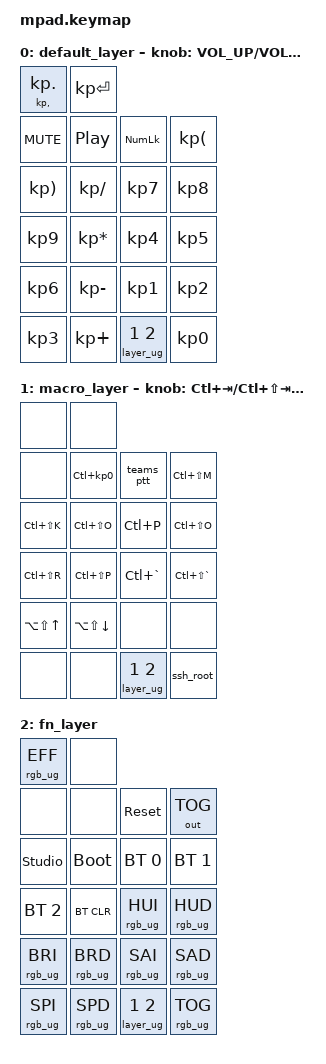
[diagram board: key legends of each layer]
// This file was generated from a template. Edit it to match your keyboard.
// See https://zmk.dev/docs/development/hardware-integration/new-shield for more instructions.

#include <behaviors.dtsi>
#include <dt-bindings/zmk/keys.h>
#include <dt-bindings/zmk/bt.h>
#include <dt-bindings/zmk/rgb.h>
#include <dt-bindings/zmk/outputs.h>
#include <dt-bindings/zmk/pointing.h>

#define DEFAULT 0
#define LOWER   1
#define RAISE   2

&led_strip {
    chain-length = <20>;
};

/ {
    behaviors {
        clt: custom_layer_tap {
            compatible = "zmk,behavior-hold-tap";
            #binding-cells = <2>;
            flavor = "tap-preferred";
            tapping-term-ms = <200>;
            bindings = <&to>, <&to>;
        };

        inc_dec_msc: inc_dec_msc {
            compatible = "zmk,behavior-sensor-rotate-var";
            #sensor-binding-cells = <2>;
            bindings = <&msc>, <&msc>;
            tap-ms = <150>;
        };

        dot_comma: dot_comma {
            compatible = "zmk,behavior-hold-tap";
            #binding-cells = <2>;
            flavor = "tap-preferred";
            tapping-term-ms = <200>;
            bindings = <&kp>, <&kp>; /* <Hold, Tap> */
        };

        /* Three-state layer/underglow toggle:
         *   default + tap  -> LOWER (blue)
         *   default + hold -> RAISE (red)
         *   LOWER/RAISE + release -> default (restore color + effect) */
        layer_ug: layer_ug {
            compatible = "zmk,behavior-layer-ug";
            #binding-cells = <2>;
            lower-hsb = <240 100 80>;
            raise-hsb = <0 100 80>;
        };
    };

    macros {
        /* Teams Push to Talk: 
            - Press: Sends Ctrl+Shift+M (Unmute)
            - Hold: Pauses execution while button is held
            - Release: Sends Ctrl+Shift+M (Mute)
        */
        teams_ptt: teams_ptt {
            compatible = "zmk,behavior-macro";
            #binding-cells = <0>;
            bindings
                /* 1. Unmute on press */
                = <&macro_press &kp LCTRL &kp LSHFT &kp M>
                , <&macro_release &kp LCTRL &kp LSHFT &kp M>
                /* 2. Wait while holding */
                , <&macro_pause_for_release>
                /* 3. Mute on release */
                , <&macro_press &kp LCTRL &kp LSHFT &kp M>
                , <&macro_release &kp LCTRL &kp LSHFT &kp M>;
        };
        
        /* Type "ssh root@" and paste IP (Shift + Insert) */
        ssh_root: ssh_root {
            compatible = "zmk,behavior-macro";
            #binding-cells = <0>;
            wait-ms = <20>;
            tap-ms = <20>;
            bindings
                = <&macro_tap &kp S &kp S &kp H &kp SPACE &kp R &kp O &kp O &kp T &kp AT &kp LS(INS)>;
        };
    };

/*
 * =========================================================================
 * ZMK DIRECT MODIFIER KEYCODE REFERENCE
 * =========================================================================
 *
 * TEAMS SHORTCUTS
 *   &kp LC(LS(M))     - Toggle Mute             (Ctrl + Shift + M)
 *   &kp LC(LS(K))     - Raise / Lower Hand      (Ctrl + Shift + K)
 *   &kp LC(LS(O))     - Toggle Camera           (Ctrl + Shift + O)
 *
 * VS CODE SHORTCUTS
 *   &kp LC(P)         - Quick Open File         (Ctrl + P)
 *   &kp LC(LS(P))     - Command Palette         (Ctrl + Shift + P)
 *   &kp LC(LS(O))     - Go to Symbol in File    (Ctrl + Shift + O)
 *   &kp LC(LS(F))     - Global Search           (Ctrl + Shift + F)
 *   &kp LC(LS(R))     - Refactor                (Ctrl + Shift + R)
 *   &kp LC(GRAVE)     - Toggle Terminal         (Ctrl + `)
 *   &kp LA(LS(UP))    - Duplicate Line Above    (Alt + Shift + Up)
 *   &kp LA(LS(DOWN))  - Duplicate Line Below    (Alt + Shift + Down)
 *
 * NAVIGATION / TABS
 *   &kp LC(TAB)       - Next Tab                (Ctrl + Tab)
 *   &kp LC(LS(TAB))   - Previous Tab            (Ctrl + Shift + Tab)
 *
 * MODIFIER CODES:
 *   LC(code) = Left Control | LS(code) = Left Shift | LA(code) = Left Alt
 * =========================================================================
 */
    
    keymap {
        compatible = "zmk,keymap";

        default_layer {
            bindings = <
                &kp C_MUTE   &kp C_PP
                &kp KP_NUM   &kp KP_LPAR  &kp KP_RPAR                   &kp KP_DIVIDE
                &kp KP_N7    &kp KP_N8    &kp KP_N9                     &kp KP_MULTIPLY
                &kp KP_N4    &kp KP_N5    &kp KP_N6                     &kp KP_MINUS
                &kp KP_N1    &kp KP_N2    &kp KP_N3                     &kp KP_PLUS
                &layer_ug 1 2   &kp KP_N0    &dot_comma KP_COMMA KP_DOT    &kp KP_ENTER
            >;
            sensor-bindings = <&inc_dec_kp C_VOL_UP C_VOL_DN &inc_dec_msc SCRL_RIGHT SCRL_LEFT>;
        };

        macro_layer {
            bindings = <
                &none          &kp LC(KP_NUMBER_0)
                &teams_ptt     &kp LC(LS(M))        &kp LC(LS(K))     &kp LC(LS(O))
                &kp LC(P)      &kp LC(LS(O))        &kp LC(LS(R))     &kp LC(LS(P))
                &kp LC(GRAVE)  &kp LC(LS(GRAVE))    &kp LA(LS(UP))    &kp LA(LS(DOWN))
                &none          &none                &none             &none
                &layer_ug 1 2  &ssh_root            &none             &none
            >;
            sensor-bindings = <&inc_dec_kp LC(TAB) LC(LS(TAB)) &inc_dec_kp LC(KP_PLUS) LC(KP_MINUS)>;
        };

        fn_layer {
            bindings = <
                &none             &none
                &sys_reset        &out OUT_TOG      &studio_unlock    &bootloader
                &bt BT_SEL 0      &bt BT_SEL 1      &bt BT_SEL 2      &bt BT_CLR
                &rgb_ug RGB_HUI   &rgb_ug RGB_HUD   &rgb_ug RGB_BRI   &rgb_ug RGB_BRD
                &rgb_ug RGB_SAI   &rgb_ug RGB_SAD   &rgb_ug RGB_SPI   &rgb_ug RGB_SPD
                &layer_ug 1 2  &rgb_ug RGB_TOG   &rgb_ug RGB_EFF   &none
            >;
        };
    };
};
